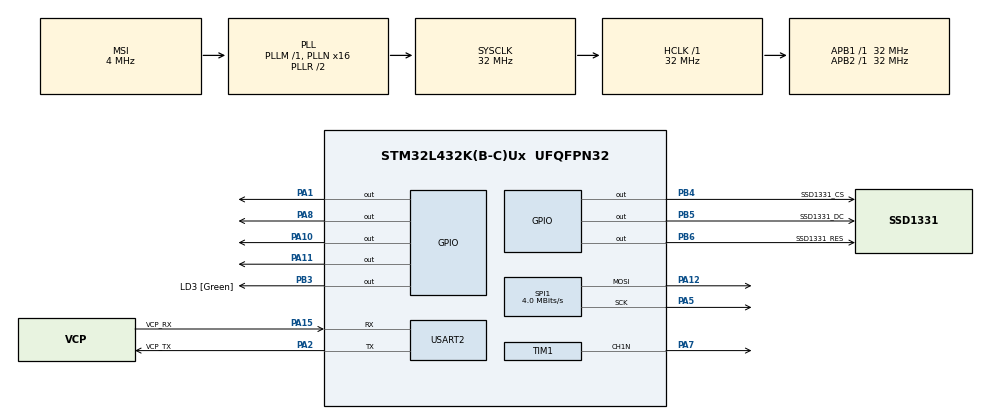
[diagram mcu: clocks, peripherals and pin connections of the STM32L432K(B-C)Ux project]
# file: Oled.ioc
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Mcu.Family=STM32L4
Mcu.Name=STM32L432K(B-C)Ux
Mcu.Package=UFQFPN32
NVIC.PriorityGroup=NVIC_PRIORITYGROUP_4
PA0.GPIO_Label=MCO [High speed clock in]
PA0.Mode=HSE-External-Clock-Source-for-LittleOrca
PA0.Signal=RCC_CK_IN
PA1.GPIO_PuPd=GPIO_PULLDOWN
PA1.Signal=GPIO_Output
PA10.GPIO_PuPd=GPIO_PULLDOWN
PA10.Signal=GPIO_Output
PA11.GPIO_PuPd=GPIO_PULLDOWN
PA11.Signal=GPIO_Output
PA12.Mode=TX_Only_Simplex_Unidirect_Master
PA12.Signal=SPI1_MOSI
PA13\ (JTMS-SWDIO).GPIO_Label=SWDIO
PA13\ (JTMS-SWDIO).Mode=Serial_Wire
PA13\ (JTMS-SWDIO).Signal=SYS_JTMS-SWDIO
PA14\ (JTCK-SWCLK).GPIO_Label=SWCLK
PA14\ (JTCK-SWCLK).Mode=Serial_Wire
PA14\ (JTCK-SWCLK).Signal=SYS_JTCK-SWCLK
PA15\ (JTDI).GPIO_Label=VCP_RX
PA15\ (JTDI).Mode=Asynchronous
PA15\ (JTDI).Signal=USART2_RX
PA2.GPIO_Label=VCP_TX
PA2.Mode=Asynchronous
PA2.Signal=USART2_TX
PA5.Mode=TX_Only_Simplex_Unidirect_Master
PA5.Signal=SPI1_SCK
PA7.Mode=PWM Generation1 CH1N
PA7.Signal=TIM1_CH1N
PA8.GPIO_PuPd=GPIO_PULLDOWN
PA8.Signal=GPIO_Output
PB3\ (JTDO-TRACESWO).GPIO_Label=LD3 [Green]
PB3\ (JTDO-TRACESWO).Signal=GPIO_Output
PB4\ (NJTRST).GPIO_Label=SSD1331_CS
PB4\ (NJTRST).Signal=GPIO_Output
PB5.GPIO_Label=SSD1331_DC
PB5.Signal=GPIO_Output
PB6.GPIO_Label=SSD1331_RES
PB6.Signal=GPIO_Output
PC14-OSC32_IN\ (PC14).Mode=LSE-External-Oscillator
PC14-OSC32_IN\ (PC14).Signal=RCC_OSC32_IN
PC15-OSC32_OUT\ (PC15).Mode=LSE-External-Oscillator
PC15-OSC32_OUT\ (PC15).Signal=RCC_OSC32_OUT
ProjectManager.HeapSize=0x200
ProjectManager.StackSize=0x400
ProjectManager.TargetToolchain=STM32CubeIDE
RCC.AHBFreq_Value=32000000
RCC.APB1Freq_Value=32000000
RCC.APB1TimFreq_Value=32000000
RCC.APB2Freq_Value=32000000
RCC.APB2TimFreq_Value=32000000
RCC.CortexFreq_Value=32000000
RCC.HCLKFreq_Value=32000000
RCC.HSE_VALUE=8000000
RCC.HSI16_VALUE=16000000
RCC.HSI48_VALUE=48000000
RCC.HSI_VALUE=16000000
RCC.MSI_VALUE=4000000
RCC.PLLMUL=RCC_PLLMUL_4
RCC.PLLN=16
RCC.SYSCLKFreq_VALUE=32000000
RCC.SYSCLKSource=RCC_SYSCLKSOURCE_PLLCLK
RCC.VCOOutputFreq_Value=64000000
SPI1.BaudRatePrescaler=SPI_BAUDRATEPRESCALER_8
SPI1.CalculateBaudRate=4.0 MBits/s
SPI1.DataSize=SPI_DATASIZE_8BIT
SPI1.Direction=SPI_DIRECTION_2LINES
SPI1.Mode=SPI_MODE_MASTER
SPI1.VirtualType=VM_MASTER
TIM1.Channel-PWM\ Generation1\ CH1N=TIM_CHANNEL_1
USART2.VirtualMode-Asynchronous=VM_ASYNC
VP_TIM1_VS_ClockSourceINT.Mode=Internal
board=NUCLEO-L432KC

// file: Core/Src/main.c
/* USER CODE BEGIN Header */
/**
  ******************************************************************************
  * @file           : main.c
  * @brief          : Main program body
  ******************************************************************************
  * @attention
  *
  * Copyright (c) 2022 STMicroelectronics.
  * All rights reserved.
  *
  * This software is licensed under terms that can be found in the LICENSE file
  * in the root directory of this software component.
  * If no LICENSE file comes with this software, it is provided AS-IS.
  *
  ******************************************************************************
  */
/* USER CODE END Header */
#include "main.h"

/* USER CODE BEGIN Includes */
#include "ssd1331.h"
#include "logo.h"
#include <stdio.h>
#include <stdbool.h>
/* USER CODE END Includes */

/* USER CODE BEGIN PTD */
#define MAX_PASSWORD_STORAGE			10
#define MASTER_PASSWORD					2208

typedef enum
{
	CHOICEOPTION_CONFIGURE_PASSWORD = 1,
	CHOICEOPTION_VALIDATE_ACCESS,
	CHOICEOPTION_SEE_PASSWORD,
}USER_CHOICEOPTION_e;
/* USER CODE END PTD */

SPI_HandleTypeDef hspi1;

TIM_HandleTypeDef htim1;

UART_HandleTypeDef huart2;

void SystemClock_Config(void);
static void MX_GPIO_Init(void);
static void MX_USART2_UART_Init(void);
static void MX_SPI1_Init(void);
static void MX_TIM1_Init(void);

/* USER CODE BEGIN 0 */
static uint32_t UserConfiguredPasswd[10] = {3247, 8795, 1564, 4321, 7089, 2938, 5412, 8670, 2196, 2447};
uint32_t UserEnteredPasswd;

/*******************************************************************************
  * FUNCTION      : isPasswordMatched()
  * PARAMETERS    : iUserEnteredPasswd
  * RETURNS       : True if matched else False
  * DESCRIPTION   : Validates the user entered password is valid or not
  * ******************************************************************************
  */
bool isPasswordMatched(uint32_t iUserEnteredPasswd)
{
	for(uint8_t traverseIndex = 0; traverseIndex < MAX_PASSWORD_STORAGE; traverseIndex++)
	{
		if(iUserEnteredPasswd == UserConfiguredPasswd[traverseIndex])
			return true;
	}
	return false;
}

/*******************************************************************************
  * FUNCTION      : changeSpeakerFrequency()
  * PARAMETERS    : TIM_HandleTypeDef *htim - pointer to hal timer structure for this timer, uint32_t newFrequency - actual frequency desired
  * RETURNS       : none
  * DESCRIPTION   : Control the frequency on TIM1 PWM output on PA7
  *
  * ******************************************************************************
  */
static void changeSpeakerFrequency(TIM_HandleTypeDef *htim,
		uint32_t newFrequency)
{

	HAL_TIMEx_PWMN_Stop(htim, TIM_CHANNEL_1);

	// calculate the new period based off of frequency input
	uint32_t newPeriod = 1000000000 / (newFrequency * 250);

	TIM_ClockConfigTypeDef sClockSourceConfig = { 0 };
	TIM_MasterConfigTypeDef sMasterConfig = { 0 };
	TIM_OC_InitTypeDef sConfigOC = { 0 };
	TIM_BreakDeadTimeConfigTypeDef sBreakDeadTimeConfig = { 0 };

	htim->Instance = TIM1;
	htim->Init.Prescaler = 0;
	htim->Init.CounterMode = TIM_COUNTERMODE_UP;
	htim->Init.Period = newPeriod;
	htim->Init.ClockDivision = TIM_CLOCKDIVISION_DIV1;
	htim->Init.RepetitionCounter = 0;
	htim->Init.AutoReloadPreload = TIM_AUTORELOAD_PRELOAD_DISABLE;
	if (HAL_TIM_Base_Init(htim) != HAL_OK)
	{
		Error_Handler();
	}
	sClockSourceConfig.ClockSource = TIM_CLOCKSOURCE_INTERNAL;
	if (HAL_TIM_ConfigClockSource(htim, &sClockSourceConfig) != HAL_OK)
	{
		Error_Handler();
	}
	if (HAL_TIM_PWM_Init(htim) != HAL_OK)
	{
		Error_Handler();
	}
	sMasterConfig.MasterOutputTrigger = TIM_TRGO_RESET;
	sMasterConfig.MasterOutputTrigger2 = TIM_TRGO2_RESET;
	sMasterConfig.MasterSlaveMode = TIM_MASTERSLAVEMODE_DISABLE;
	if (HAL_TIMEx_MasterConfigSynchronization(htim, &sMasterConfig)
			!= HAL_OK)
	{
		Error_Handler();
	}
	sConfigOC.OCMode = TIM_OCMODE_PWM1;
	sConfigOC.Pulse = htim1.Init.Period/2;
	sConfigOC.OCPolarity = TIM_OCPOLARITY_HIGH;
	sConfigOC.OCNPolarity = TIM_OCNPOLARITY_HIGH;
	sConfigOC.OCFastMode = TIM_OCFAST_DISABLE;
	sConfigOC.OCIdleState = TIM_OCIDLESTATE_RESET;
	sConfigOC.OCNIdleState = TIM_OCNIDLESTATE_RESET;
	if (HAL_TIM_PWM_ConfigChannel(&htim1, &sConfigOC, TIM_CHANNEL_1)
			!= HAL_OK)
	{
		Error_Handler();
	}
	sBreakDeadTimeConfig.OffStateRunMode = TIM_OSSR_DISABLE;
	sBreakDeadTimeConfig.OffStateIDLEMode = TIM_OSSI_DISABLE;
	sBreakDeadTimeConfig.LockLevel = TIM_LOCKLEVEL_OFF;
	sBreakDeadTimeConfig.DeadTime = 0;
	sBreakDeadTimeConfig.BreakState = TIM_BREAK_DISABLE;
	sBreakDeadTimeConfig.BreakPolarity = TIM_BREAKPOLARITY_HIGH;
	sBreakDeadTimeConfig.BreakFilter = 0;
	sBreakDeadTimeConfig.Break2State = TIM_BREAK2_DISABLE;
	sBreakDeadTimeConfig.Break2Polarity = TIM_BREAK2POLARITY_HIGH;
	sBreakDeadTimeConfig.Break2Filter = 0;
	sBreakDeadTimeConfig.AutomaticOutput = TIM_AUTOMATICOUTPUT_DISABLE;
	if (HAL_TIMEx_ConfigBreakDeadTime(htim, &sBreakDeadTimeConfig)
			!= HAL_OK)
	{
		Error_Handler();
	}
	HAL_TIM_MspPostInit(htim);

	// must restart the timer once changes are complete
	HAL_TIMEx_PWMN_Start(htim, TIM_CHANNEL_1);
}

/*******************************************************************************
  * FUNCTION      : ErrorSound()
  * PARAMETERS    : none
  * RETURNS       : none
  * DESCRIPTION   : Play the error sound on speaker connected on PA7
  * ******************************************************************************
  */
void ErrorSound()
{
	HAL_GPIO_WritePin(GPIOA, GPIO_PIN_11, GPIO_PIN_SET);
	for(uint8_t count = 0; count < 10; count++)
	{
		for(uint16_t freq = 0; freq < 5000; freq+=500)
		{
			changeSpeakerFrequency(&htim1, freq);	// set new frequency
			HAL_Delay(10);							// delay for 10 milisecond
		}
	}

	HAL_TIMEx_PWMN_Stop(&htim1,TIM_CHANNEL_1);
	HAL_GPIO_WritePin(GPIOA, GPIO_PIN_11, GPIO_PIN_RESET);

}

/*******************************************************************************
  * FUNCTION      : SuccessSound()
  * PARAMETERS    : none
  * RETURNS       : none
  * DESCRIPTION   : Play the success sound on speaker connected on PA7
  * ******************************************************************************
  */
void SuccessSound()
{
	HAL_GPIO_WritePin(GPIOA, GPIO_PIN_8, GPIO_PIN_SET);
	uint8_t count = 0;

	if(count < 1)
	{
		for(uint16_t freq = 2000; freq > 100; freq -= 70)
		{
			changeSpeakerFrequency(&htim1, freq);		// set new frequency
			HAL_Delay(35);								// delay for 25 milisecond
		}
		count++;
	}
	HAL_TIMEx_PWMN_Stop(&htim1,TIM_CHANNEL_1);
	HAL_GPIO_WritePin(GPIOA, GPIO_PIN_8, GPIO_PIN_RESET);
}

/*******************************************************************************
  * FUNCTION      : configurePassword()
  * PARAMETERS    : none
  * RETURNS       : none
  * DESCRIPTION   : Asks master password and allows to overright new password at desired index to master
  *
  *******************************************************************************
  */
void configurePassword()
{
	uint16_t tMasterPassword = 0,index = 0;
	printf("Enter master password to configure password\n\r");
	scanf("%hu",&tMasterPassword);

	if(tMasterPassword != MASTER_PASSWORD)
	{
		ssd1331_clear_screen(BLACK);				//Clear OLED Screen
		ssd1331_display_string(2, 2, "Wrong master password entered", FONT_1206, WHITE);
		HAL_Delay(1500);								// delay for 25 milisecond
		return;
	}

	HAL_GPIO_WritePin(GPIOA, GPIO_PIN_1, GPIO_PIN_SET);
	ssd1331_clear_screen(BLACK);				//Clear OLED Screen
	ssd1331_display_string(2, 2, "In master mode --> configure password", FONT_1206, BLUE);
	printf("Enter new password\n\r");
	scanf("%hu",&tMasterPassword);

	printf("Enter which password you want to replace from total 10 passwords\n\r");
	scanf("%hu",&index);

	if(index > 10)
	{
		UserConfiguredPasswd[MAX_PASSWORD_STORAGE-1] = tMasterPassword;
	}
	else
	{
		UserConfiguredPasswd[index-1] = tMasterPassword;
	}

	ssd1331_clear_screen(BLACK);				//Clear OLED Screen
	ssd1331_display_string(2, 2, "New password set successfully", FONT_1206, WHITE);
	HAL_Delay(1500);								// delay for 25 milisecond

	printf("New Password Added Successfully\n\r");
	HAL_GPIO_WritePin(GPIOA, GPIO_PIN_1, GPIO_PIN_RESET);

}

/* USER CODE END 0 */

int main(void)
{

  /* MCU Configuration--------------------------------------------------------*/

  /* Reset of all peripherals, Initializes the Flash interface and the Systick. */
  HAL_Init();

  /* Configure the system clock */
  SystemClock_Config();

  /* Initialize all configured peripherals */
  MX_GPIO_Init();
  MX_USART2_UART_Init();
  MX_SPI1_Init();
  MX_TIM1_Init();

  /* USER CODE BEGIN 2 */

  HAL_TIMEx_PWMN_Start(&htim1, TIM_CHANNEL_1);
  printf("\033[0H\033[0J");							//Clear serial console

  ssd1331_init();									//Init OLED library
  ssd1331_clear_screen(BLACK);						//Clear OLED Screen

  /* USER CODE END 2 */

  /* Infinite loop */
  /* USER CODE BEGIN WHILE */
  USER_CHOICEOPTION_e choice;

	while (1)
	{
		changeSpeakerFrequency(&htim1, 0);			//Set new frequency
		printf(" 1)Enter Master Mode to Configure Password\n\r 2)Want to access system\n\r 3)Show all password\n\r");
		ssd1331_clear_screen(BLACK);				//Clear OLED Screen
		ssd1331_display_string(1, 1, "Validate your  self via putty  to access system ", FONT_1206, GOLDEN);

		scanf("%hhu",&choice);						//Take input choice from user
		switch(choice)
		{
			case CHOICEOPTION_CONFIGURE_PASSWORD:	// Master mode - configure password
			{
				configurePassword();
				break;
			}

			case CHOICEOPTION_VALIDATE_ACCESS:		// User mode - validate user
			{
				printf("Enter password to validate your Identity\n\r");
				scanf("%lu",&UserEnteredPasswd);
				if(!isPasswordMatched(UserEnteredPasswd))
				{
					ssd1331_clear_screen(BLACK);				//Clear OLED Screen
					ssd1331_display_string(2, 2, "Access denied", FONT_1206, RED);
					ErrorSound();
					HAL_Delay(2000);
					printf("Access denied\n\r");

				}
				else
				{
					ssd1331_clear_screen(BLACK);				//Clear OLED Screen
					ssd1331_display_string(2, 2, "Access granted", FONT_1206, GREEN);
					SuccessSound();
					HAL_Delay(2000);
					printf("Access granted\n\r");
				}

				break;
			}

			case CHOICEOPTION_SEE_PASSWORD:			// Master mode - see password
			{
				uint16_t tMasterPassword = 0;
				printf("Enter master password to see all password\n\r");
				scanf("%hu",&tMasterPassword);

				if(tMasterPassword != MASTER_PASSWORD)
				{
					ssd1331_clear_screen(BLACK);				//Clear OLED Screen
					ssd1331_display_string(2, 2, "Wrong master password entered", FONT_1206, WHITE);
					HAL_Delay(1500);								// delay for 25 milisecond

					break;
				}

				HAL_GPIO_WritePin(GPIOA, GPIO_PIN_1, GPIO_PIN_SET);
				ssd1331_clear_screen(BLACK);				//Clear OLED Screen
				ssd1331_display_string(2, 2, "In master mode --> see password password on Putty", FONT_1206, BLUE);
				printf("Stored passwords are [");
				for(uint8_t index = 0; index < MAX_PASSWORD_STORAGE; index++)
				{
					printf(" %lu",UserConfiguredPasswd[index]);
				}
				printf("]\n\r");
				HAL_Delay(2000);
				HAL_GPIO_WritePin(GPIOA, GPIO_PIN_1, GPIO_PIN_RESET);
				break;
			}

			default:
			{
				break;
			}
		}
    /* USER CODE END WHILE */

  }
}

void SystemClock_Config(void)
{
  RCC_OscInitTypeDef RCC_OscInitStruct = {0};
  RCC_ClkInitTypeDef RCC_ClkInitStruct = {0};

  /** Configure the main internal regulator output voltage
  */
  if (HAL_PWREx_ControlVoltageScaling(PWR_REGULATOR_VOLTAGE_SCALE1) != HAL_OK)
  {
    Error_Handler();
  }

  /** Configure LSE Drive Capability
  */
  HAL_PWR_EnableBkUpAccess();
  __HAL_RCC_LSEDRIVE_CONFIG(RCC_LSEDRIVE_LOW);

  /** Initializes the RCC Oscillators according to the specified parameters
  * in the RCC_OscInitTypeDef structure.
  */
  RCC_OscInitStruct.OscillatorType = RCC_OSCILLATORTYPE_LSE|RCC_OSCILLATORTYPE_MSI;
  RCC_OscInitStruct.LSEState = RCC_LSE_ON;
  RCC_OscInitStruct.MSIState = RCC_MSI_ON;
  RCC_OscInitStruct.MSICalibrationValue = 0;
  RCC_OscInitStruct.MSIClockRange = RCC_MSIRANGE_6;
  RCC_OscInitStruct.PLL.PLLState = RCC_PLL_ON;
  RCC_OscInitStruct.PLL.PLLSource = RCC_PLLSOURCE_MSI;
  RCC_OscInitStruct.PLL.PLLM = 1;
  RCC_OscInitStruct.PLL.PLLN = 16;
  RCC_OscInitStruct.PLL.PLLP = RCC_PLLP_DIV7;
  RCC_OscInitStruct.PLL.PLLQ = RCC_PLLQ_DIV2;
  RCC_OscInitStruct.PLL.PLLR = RCC_PLLR_DIV2;
  if (HAL_RCC_OscConfig(&RCC_OscInitStruct) != HAL_OK)
  {
    Error_Handler();
  }

  /** Initializes the CPU, AHB and APB buses clocks
  */
  RCC_ClkInitStruct.ClockType = RCC_CLOCKTYPE_HCLK|RCC_CLOCKTYPE_SYSCLK
                              |RCC_CLOCKTYPE_PCLK1|RCC_CLOCKTYPE_PCLK2;
  RCC_ClkInitStruct.SYSCLKSource = RCC_SYSCLKSOURCE_PLLCLK;
  RCC_ClkInitStruct.AHBCLKDivider = RCC_SYSCLK_DIV1;
  RCC_ClkInitStruct.APB1CLKDivider = RCC_HCLK_DIV1;
  RCC_ClkInitStruct.APB2CLKDivider = RCC_HCLK_DIV1;

  if (HAL_RCC_ClockConfig(&RCC_ClkInitStruct, FLASH_LATENCY_1) != HAL_OK)
  {
    Error_Handler();
  }

  /** Enable MSI Auto calibration
  */
  HAL_RCCEx_EnableMSIPLLMode();
}

static void MX_SPI1_Init(void)
{

  /* SPI1 parameter configuration*/
  hspi1.Instance = SPI1;
  hspi1.Init.Mode = SPI_MODE_MASTER;
  hspi1.Init.Direction = SPI_DIRECTION_2LINES;
  hspi1.Init.DataSize = SPI_DATASIZE_8BIT;
  hspi1.Init.CLKPolarity = SPI_POLARITY_LOW;
  hspi1.Init.CLKPhase = SPI_PHASE_1EDGE;
  hspi1.Init.NSS = SPI_NSS_SOFT;
  hspi1.Init.BaudRatePrescaler = SPI_BAUDRATEPRESCALER_8;
  hspi1.Init.FirstBit = SPI_FIRSTBIT_MSB;
  hspi1.Init.TIMode = SPI_TIMODE_DISABLE;
  hspi1.Init.CRCCalculation = SPI_CRCCALCULATION_DISABLE;
  hspi1.Init.CRCPolynomial = 7;
  hspi1.Init.CRCLength = SPI_CRC_LENGTH_DATASIZE;
  hspi1.Init.NSSPMode = SPI_NSS_PULSE_ENABLE;
  if (HAL_SPI_Init(&hspi1) != HAL_OK)
  {
    Error_Handler();
  }

}

static void MX_TIM1_Init(void)
{

  TIM_ClockConfigTypeDef sClockSourceConfig = {0};
  TIM_MasterConfigTypeDef sMasterConfig = {0};
  TIM_OC_InitTypeDef sConfigOC = {0};
  TIM_BreakDeadTimeConfigTypeDef sBreakDeadTimeConfig = {0};

  htim1.Instance = TIM1;
  htim1.Init.Prescaler = 0;
  htim1.Init.CounterMode = TIM_COUNTERMODE_UP;
  htim1.Init.Period = 65535;
  htim1.Init.ClockDivision = TIM_CLOCKDIVISION_DIV1;
  htim1.Init.RepetitionCounter = 0;
  htim1.Init.AutoReloadPreload = TIM_AUTORELOAD_PRELOAD_DISABLE;
  if (HAL_TIM_Base_Init(&htim1) != HAL_OK)
  {
    Error_Handler();
  }
  sClockSourceConfig.ClockSource = TIM_CLOCKSOURCE_INTERNAL;
  if (HAL_TIM_ConfigClockSource(&htim1, &sClockSourceConfig) != HAL_OK)
  {
    Error_Handler();
  }
  if (HAL_TIM_PWM_Init(&htim1) != HAL_OK)
  {
    Error_Handler();
  }
  sMasterConfig.MasterOutputTrigger = TIM_TRGO_RESET;
  sMasterConfig.MasterOutputTrigger2 = TIM_TRGO2_RESET;
  sMasterConfig.MasterSlaveMode = TIM_MASTERSLAVEMODE_DISABLE;
  if (HAL_TIMEx_MasterConfigSynchronization(&htim1, &sMasterConfig) != HAL_OK)
  {
    Error_Handler();
  }
  sConfigOC.OCMode = TIM_OCMODE_PWM1;
  sConfigOC.Pulse = 0;
  sConfigOC.OCPolarity = TIM_OCPOLARITY_HIGH;
  sConfigOC.OCNPolarity = TIM_OCNPOLARITY_HIGH;
  sConfigOC.OCFastMode = TIM_OCFAST_DISABLE;
  sConfigOC.OCIdleState = TIM_OCIDLESTATE_RESET;
  sConfigOC.OCNIdleState = TIM_OCNIDLESTATE_RESET;
  if (HAL_TIM_PWM_ConfigChannel(&htim1, &sConfigOC, TIM_CHANNEL_1) != HAL_OK)
  {
    Error_Handler();
  }
  sBreakDeadTimeConfig.OffStateRunMode = TIM_OSSR_DISABLE;
  sBreakDeadTimeConfig.OffStateIDLEMode = TIM_OSSI_DISABLE;
  sBreakDeadTimeConfig.LockLevel = TIM_LOCKLEVEL_OFF;
  sBreakDeadTimeConfig.DeadTime = 0;
  sBreakDeadTimeConfig.BreakState = TIM_BREAK_DISABLE;
  sBreakDeadTimeConfig.BreakPolarity = TIM_BREAKPOLARITY_HIGH;
  sBreakDeadTimeConfig.BreakFilter = 0;
  sBreakDeadTimeConfig.Break2State = TIM_BREAK2_DISABLE;
  sBreakDeadTimeConfig.Break2Polarity = TIM_BREAK2POLARITY_HIGH;
  sBreakDeadTimeConfig.Break2Filter = 0;
  sBreakDeadTimeConfig.AutomaticOutput = TIM_AUTOMATICOUTPUT_DISABLE;
  if (HAL_TIMEx_ConfigBreakDeadTime(&htim1, &sBreakDeadTimeConfig) != HAL_OK)
  {
    Error_Handler();
  }
  HAL_TIM_MspPostInit(&htim1);

}

static void MX_USART2_UART_Init(void)
{

  huart2.Instance = USART2;
  huart2.Init.BaudRate = 115200;
  huart2.Init.WordLength = UART_WORDLENGTH_8B;
  huart2.Init.StopBits = UART_STOPBITS_1;
  huart2.Init.Parity = UART_PARITY_NONE;
  huart2.Init.Mode = UART_MODE_TX_RX;
  huart2.Init.HwFlowCtl = UART_HWCONTROL_NONE;
  huart2.Init.OverSampling = UART_OVERSAMPLING_16;
  huart2.Init.OneBitSampling = UART_ONE_BIT_SAMPLE_DISABLE;
  huart2.AdvancedInit.AdvFeatureInit = UART_ADVFEATURE_NO_INIT;
  if (HAL_UART_Init(&huart2) != HAL_OK)
  {
    Error_Handler();
  }

}

static void MX_GPIO_Init(void)
{
  GPIO_InitTypeDef GPIO_InitStruct = {0};

  /* GPIO Ports Clock Enable */
  __HAL_RCC_GPIOC_CLK_ENABLE();
  __HAL_RCC_GPIOA_CLK_ENABLE();
  __HAL_RCC_GPIOB_CLK_ENABLE();

  /*Configure GPIO pin Output Level */
  HAL_GPIO_WritePin(GPIOA, GPIO_PIN_1|GPIO_PIN_8|GPIO_PIN_10|GPIO_PIN_11, GPIO_PIN_RESET);

  /*Configure GPIO pin Output Level */
  HAL_GPIO_WritePin(GPIOB, LD3_Pin|SSD1331_CS_Pin|SSD1331_DC_Pin|SSD1331_RES_Pin, GPIO_PIN_RESET);

  /*Configure GPIO pins : PA1 PA8 PA10 PA11 */
  GPIO_InitStruct.Pin = GPIO_PIN_1|GPIO_PIN_8|GPIO_PIN_10|GPIO_PIN_11;
  GPIO_InitStruct.Mode = GPIO_MODE_OUTPUT_PP;
  GPIO_InitStruct.Pull = GPIO_PULLDOWN;
  GPIO_InitStruct.Speed = GPIO_SPEED_FREQ_LOW;
  HAL_GPIO_Init(GPIOA, &GPIO_InitStruct);

  /*Configure GPIO pins : LD3_Pin SSD1331_CS_Pin SSD1331_DC_Pin SSD1331_RES_Pin */
  GPIO_InitStruct.Pin = LD3_Pin|SSD1331_CS_Pin|SSD1331_DC_Pin|SSD1331_RES_Pin;
  GPIO_InitStruct.Mode = GPIO_MODE_OUTPUT_PP;
  GPIO_InitStruct.Pull = GPIO_NOPULL;
  GPIO_InitStruct.Speed = GPIO_SPEED_FREQ_LOW;
  HAL_GPIO_Init(GPIOB, &GPIO_InitStruct);

}

void Error_Handler(void)
{
  __disable_irq();
  while (1)
  {
  }
}
